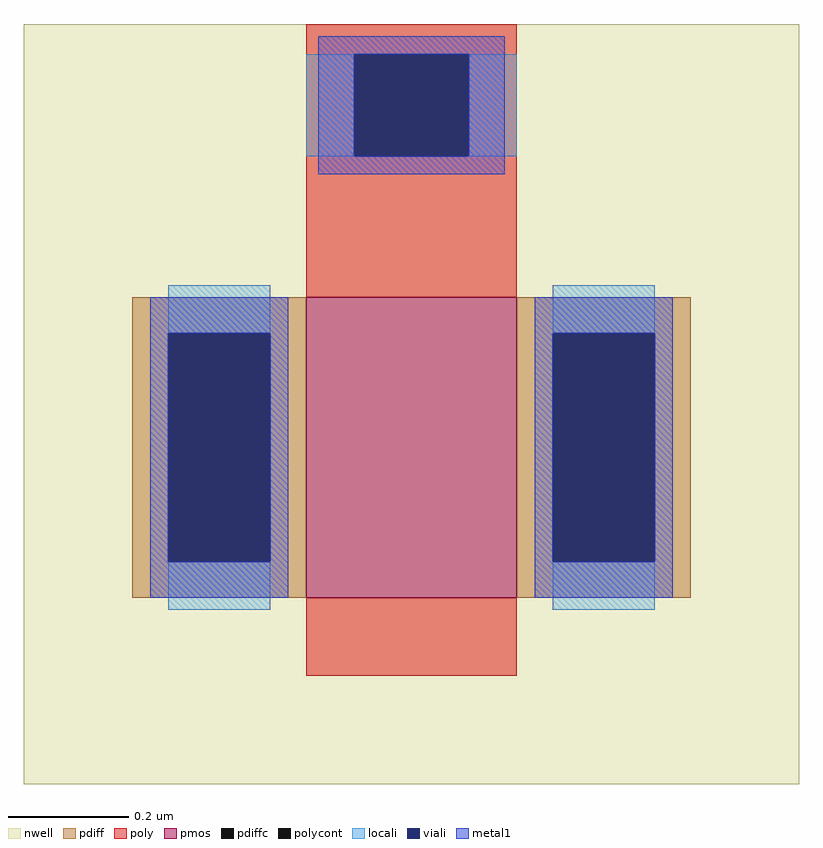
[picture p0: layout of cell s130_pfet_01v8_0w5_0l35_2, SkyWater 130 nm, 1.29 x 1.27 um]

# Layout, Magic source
magic
tech sky130A
magscale 1 2
<< nwell >>
rect -129 -148 129 105
<< pmos >>
rect -35 -86 35 14
<< pdiff >>
rect -93 2 -35 14
rect -93 -74 -81 2
rect -47 -74 -35 2
rect -93 -86 -35 -74
rect 35 2 93 14
rect 35 -74 47 2
rect 81 -74 93 2
rect 35 -86 93 -74
<< pdiffc >>
rect -81 -74 -47 2
rect 47 -74 81 2
<< poly >>
rect -35 95 35 105
rect -35 61 -19 95
rect 19 61 35 95
rect -35 14 35 61
rect -35 -112 35 -86
<< polycont >>
rect -19 61 19 95
<< locali >>
rect -35 61 -19 95
rect 19 61 35 95
rect -81 2 -47 18
rect -81 -90 -47 -74
rect 47 2 81 18
rect 47 -90 81 -74
<< viali >>
rect -19 61 19 95
rect -81 -74 -47 2
rect 47 -74 81 2
<< metal1 >>
rect -31 95 31 101
rect -31 61 -19 95
rect 19 61 31 95
rect -31 55 31 61
rect -87 2 -41 14
rect -87 -74 -81 2
rect -47 -74 -41 2
rect -87 -86 -41 -74
rect 41 2 87 14
rect 41 -74 47 2
rect 81 -74 87 2
rect 41 -86 87 -74
<< properties >>
string gencell sky130_fd_pr__pfet_01v8
string library sky130
string parameters w 0.5 l 0.35 m 1 nf 1 diffcov 100 polycov 100 guard 0 glc 1 grc 1 gtc 1 gbc 1 tbcov 100 rlcov 100 topc 1 botc 0 poverlap 0 doverlap 0 lmin 0.15 wmin 0.42 class mosfet compatible {sky130_fd_pr__pfet_01v8  sky130_fd_pr__pfet_01v8_lvt sky130_fd_pr__pfet_01v8_hvt  sky130_fd_pr__pfet_g5v0d10v5} full_metal 0 viasrc 100 viadrn 100 viagate 100 viagb 0 viagr 0 viagl 0 viagt 0
<< end >>
